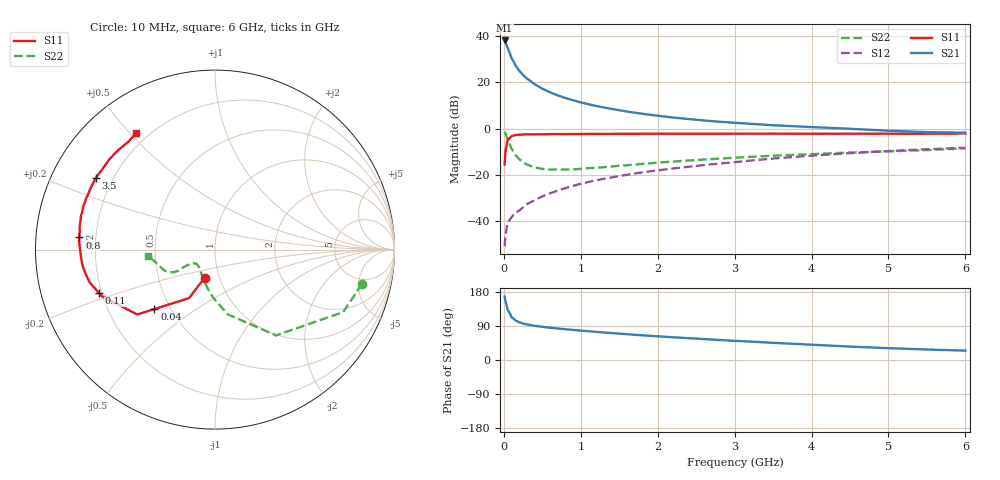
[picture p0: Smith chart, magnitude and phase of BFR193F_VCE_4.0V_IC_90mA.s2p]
! Infineon Technologies  Discrete & RF Semiconductors
! BFR193F
! VCE =  4.0 V,  IC =  90 mA
! Common Emitter S-Parameters:  Jan 2017
# GHz  S  MA  R  50
!  f  S11  S21  S12  S22
! GHz  MAG  ANG  MAG  ANG  MAG  ANG  MAG  ANG
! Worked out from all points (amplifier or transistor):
!   77 points, 10 MHz to 6 GHz, reference 50 ohm
!   highest |S21| = 38.0 dB at 10 MHz (marker M1)
!   |S21| within 3 dB of that: start of sweep to 46.22 MHz
!   unconditionally stable (mu >= 1): 455.6 MHz to 2.757 GHz
!   at 130 MHz: K = 0.66, MSG = 32.9 dB, |S12| = -37.1 dB
!   at 2.2 GHz: K = 1.03, MAG = 9.9 dB, |S12| = -17.2 dB
!   at 6 GHz: K = 0.88, MSG = 3.3 dB, |S12| = -8.3 dB
!   S11 on the Smith chart (normalised r, x): 10 MHz: 0.85, -0.27; 40 MHz: 0.41, -0.35; 110 MHz: 0.19, -0.18; 800 MHz: 0.14, +0.04; 3.5 GHz: 0.14, +0.27; 6 GHz: 0.15, +0.52
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0.01  0.1673 -110.3  79.28 167.7  0.0029 79.4  0.8415 -13.1
0.02  0.3062 -118.1  74.07 155.7  0.0047 73.3  0.7945 -26.0
0.04  0.4727 -135.5  59.47 141.1  0.0076 61.8  0.6363 -43.1
0.05  0.5649 -140.2  54.18 131.2  0.0091 58.8  0.5866 -54.6
0.1  0.6831 -157.8  33.09 112.6  0.0122 52.8  0.3677 -78.8
0.11  0.69 -159.4  31.07 111.4  0.0128 53.7  0.3466 -80.9
0.15  0.7226 -165.5  23.18 104.4  0.0152 56.7  0.2684 -92.2
0.2  0.7345 -169.7  17.67 99.5  0.017 60.0  0.2188 -100.9
0.25  0.7428 -172.9  14.23 96.3  0.0199 61.8  0.1851 -108.7
0.3  0.7457 -174.8  11.96 93.9  0.0233 65.4  0.1677 -114.5
0.4  0.7491 -178.1  9.003 90.2  0.0284 68.6  0.1448 -123.6
0.5  0.7519 179.8  7.229 87.6  0.0343 71.7  0.1343 -129.8
0.6  0.7555 177.9  6.051 85.2  0.04 73.2  0.1302 -134.9
0.8  0.7586 174.9  4.55 81.3  0.0519 75.2  0.1303 -141.8
1.1  0.7641 170.9  3.338 75.9  0.0703 76.5  0.1398 -146.0
1.5  0.7684 166.6  2.478 69.6  0.0941 76.6  0.1574 -149.3
2.1  0.7717 160.9  1.807 61.3  0.1312 76.1  0.1887 -150.6
3.1  0.7732 152.4  1.298 49.6  0.1955 73.5  0.2393 -150.3
3.5  0.7748 148.8  1.176 45.2  0.2247 71.9  0.2587 -151.0
4.1  0.7713 143.2  1.055 39.4  0.2666 68.7  0.2844 -154.0
5.1  0.7723 133.0  0.883 30.5  0.3321 62.2  0.3257 -164.5
6  0.7846 124.2  0.814 24.7  0.3844 56.3  0.3736 -174.8
